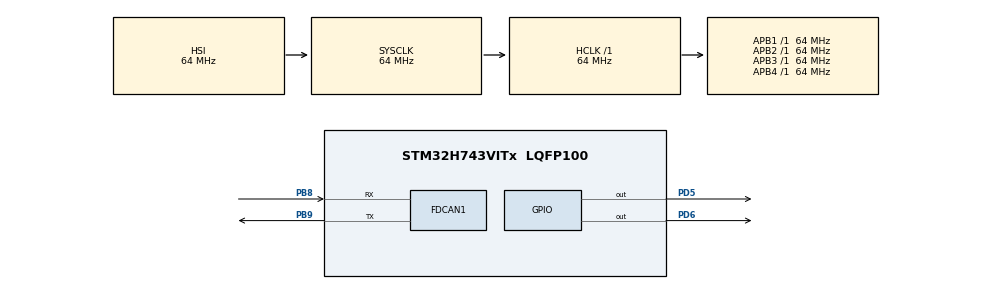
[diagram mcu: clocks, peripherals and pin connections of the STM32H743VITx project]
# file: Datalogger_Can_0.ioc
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FDCAN1.AutoRetransmission=ENABLE
FDCAN1.CalculateBaudRateNominal=500000
FDCAN1.CalculateTimeBitNominal=2000
FDCAN1.CalculateTimeQuantumNominal=125.0
FDCAN1.DataPrescaler=1
FDCAN1.DataSyncJumpWidth=2
FDCAN1.DataTimeSeg1=13
FDCAN1.DataTimeSeg2=2
FDCAN1.FrameFormat=FDCAN_FRAME_FD_NO_BRS
FDCAN1.Mode=FDCAN_MODE_EXTERNAL_LOOPBACK
FDCAN1.NominalPrescaler=1
FDCAN1.NominalSyncJumpWidth=2
FDCAN1.NominalTimeSeg1=13
FDCAN1.NominalTimeSeg2=2
FDCAN1.RxBuffersNbr=32
FDCAN1.RxFifo0ElmtSize=FDCAN_DATA_BYTES_8
FDCAN1.RxFifo0ElmtsNbr=32
FDCAN1.RxFifo1ElmtsNbr=32
FDCAN1.StdFiltersNbr=0
FDCAN1.TxBuffersNbr=32
FDCAN1.TxElmtSize=FDCAN_DATA_BYTES_8
FDCAN1.TxEventsNbr=32
FDCAN1.TxFifoQueueElmtsNbr=32
Mcu.Family=STM32H7
Mcu.Name=STM32H743VITx
Mcu.Package=LQFP100
NVIC.FDCAN1_IT0_IRQn=true\:0\:0\:false\:false\:true\:true\:true\:true
NVIC.PriorityGroup=NVIC_PRIORITYGROUP_4
PA13\ (JTMS/SWDIO).Signal=DEBUG_JTMS-SWDIO
PA14\ (JTCK/SWCLK).Signal=DEBUG_JTCK-SWCLK
PB8.Mode=FDCAN_Activate
PB8.Signal=FDCAN1_RX
PB9.Mode=FDCAN_Activate
PB9.Signal=FDCAN1_TX
PD5.PinState=GPIO_PIN_SET
PD5.Signal=GPIO_Output
PD6.Signal=GPIO_Output
ProjectManager.HeapSize=0x200
ProjectManager.StackSize=0x400
ProjectManager.TargetToolchain=STM32CubeIDE
RCC.ADCFreq_Value=129000000
RCC.APB1Freq_Value=64000000
RCC.APB2Freq_Value=64000000
RCC.APB3Freq_Value=64000000
RCC.APB4Freq_Value=64000000
RCC.CortexFreq_Value=64000000
RCC.DIVM1=4
RCC.DIVN1=9
RCC.DIVQ1=19
RCC.HCLKFreq_Value=64000000
RCC.PLLFRACN=4096
RCC.SYSCLKFreq_VALUE=64000000
RCC.USBFreq_Value=8000000
VP_RNG_VS_RNG.Mode=RNG_Activate
board=custom

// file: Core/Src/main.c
/* USER CODE BEGIN Header */
/**
  ******************************************************************************
  * @file           : main.c
  * @brief          : Main program body
  ******************************************************************************
  * @attention
  *
  * Copyright (c) 2023 STMicroelectronics.
  * All rights reserved.
  *
  * This software is licensed under terms that can be found in the LICENSE file
  * in the root directory of this software component.
  * If no LICENSE file comes with this software, it is provided AS-IS.
  *
  ******************************************************************************
  */
/* USER CODE END Header */
#include "main.h"

/* USER CODE BEGIN Includes */
#include "func_CAN.h"
#include "stm32h7xx_hal_rng.h"
/* USER CODE END Includes */

FDCAN_HandleTypeDef hfdcan1;

RNG_HandleTypeDef hrng;

void SystemClock_Config(void);
static void MX_GPIO_Init(void);
static void MX_FDCAN1_Init(void);
static void MX_RNG_Init(void);

/* USER CODE BEGIN 0 */

RNG_HandleTypeDef rngHandle;

FDCAN_RxHeaderTypeDef   RxHeader;
uint8_t               RxData[8];

uint32_t randomNumber;

int64_t sent;

uint8_t number_of_bytes_received;

uint16_t receive[4];

// Ignorar, será uma das funções de leitura no futuro
void HAL_FDCAN_RxFifo0Callback(FDCAN_HandleTypeDef *hfdcan, uint32_t RxFifo0ITs)
{
  if((RxFifo0ITs & FDCAN_IT_RX_FIFO0_NEW_MESSAGE) != RESET)
  {
    /* Retreive Rx messages from RX FIFO0 */
    if (HAL_FDCAN_GetRxMessage(hfdcan, FDCAN_RX_FIFO0, &RxHeader, RxData) != HAL_OK)
    {
    /* Reception Error */
    Error_Handler();
    }
    else
    {

    }
    if (HAL_FDCAN_ActivateNotification(hfdcan, FDCAN_IT_RX_FIFO0_NEW_MESSAGE, 0) != HAL_OK)
    {
      /* Notification Error */
      Error_Handler();
    }

    number_of_bytes_received = ST_notation_to_number_of_bytes(RxHeader.DataLength);

    uint64_to_array_of_uint16(receive, number_of_bytes_received/2, array_of_uint8_to_uint64(RxData, number_of_bytes_received));
  }
}

/* USER CODE END 0 */

int main(void)
{

  /* MCU Configuration--------------------------------------------------------*/

  /* Reset of all peripherals, Initializes the Flash interface and the Systick. */
	HAL_Init();

  /* Configure the system clock */
  SystemClock_Config();

  /* Initialize all configured peripherals */
  MX_GPIO_Init();
  MX_FDCAN1_Init();
  MX_RNG_Init();
  /* USER CODE BEGIN 2 */
  if(HAL_FDCAN_Start(&hfdcan1)!= HAL_OK)
  {
	  Error_Handler();
  }
  if (HAL_FDCAN_ActivateNotification(&hfdcan1, FDCAN_IT_RX_FIFO0_NEW_MESSAGE, 0) != HAL_OK)
  {
    /* Notification Error */
    Error_Handler();
  }
  /* USER CODE END 2 */

  /* Infinite loop */
  while (1)
  {

    /* USER CODE BEGIN 3 */

	    rngHandle.Instance = RNG;
	    HAL_RNG_Init(&rngHandle);

	    // Gera um numero aleatorio que define o tamanho do pacote que será enviado
	    // O numero enviado é uma potencia de 2 mais 1 menos 1 e depois invertemos o sinal, primeiro:
	    // -((2**7)-1),
	    // -((2**15)-1)
	    // ...
	    // -((2**63)-1)

	    uint16_t lista[4];

	    uint64_t value;

	    uint16_t info1 = 1233;
	    uint16_t info2 = 2;
	    uint16_t info3 = 6634;
	    uint16_t info4 = 1000;

	    lista[0] = info1;
	    lista[1] = info2;
	    lista[2] = info3;
	    lista[3] = info4;

	    value = array_of_uint16_to_uint64(lista, 4);

	   send_message_CAN_positive(hfdcan1, 12, value);

	  // Luz usada só para saber que loop está acontecendo
	  HAL_GPIO_TogglePin(GPIOD, GPIO_PIN_6);

      HAL_Delay (250);
  }
  /* USER CODE END 3 */
}

void SystemClock_Config(void)
{
  RCC_OscInitTypeDef RCC_OscInitStruct = {0};
  RCC_ClkInitTypeDef RCC_ClkInitStruct = {0};

  /** Supply configuration update enable
  */
  HAL_PWREx_ConfigSupply(PWR_LDO_SUPPLY);

  /** Configure the main internal regulator output voltage
  */
  __HAL_PWR_VOLTAGESCALING_CONFIG(PWR_REGULATOR_VOLTAGE_SCALE3);

  while(!__HAL_PWR_GET_FLAG(PWR_FLAG_VOSRDY)) {}

  /** Initializes the RCC Oscillators according to the specified parameters
  * in the RCC_OscInitTypeDef structure.
  */
  RCC_OscInitStruct.OscillatorType = RCC_OSCILLATORTYPE_HSI48|RCC_OSCILLATORTYPE_HSI;
  RCC_OscInitStruct.HSIState = RCC_HSI_DIV1;
  RCC_OscInitStruct.HSICalibrationValue = RCC_HSICALIBRATION_DEFAULT;
  RCC_OscInitStruct.HSI48State = RCC_HSI48_ON;
  RCC_OscInitStruct.PLL.PLLState = RCC_PLL_ON;
  RCC_OscInitStruct.PLL.PLLSource = RCC_PLLSOURCE_HSI;
  RCC_OscInitStruct.PLL.PLLM = 4;
  RCC_OscInitStruct.PLL.PLLN = 9;
  RCC_OscInitStruct.PLL.PLLP = 2;
  RCC_OscInitStruct.PLL.PLLQ = 19;
  RCC_OscInitStruct.PLL.PLLR = 2;
  RCC_OscInitStruct.PLL.PLLRGE = RCC_PLL1VCIRANGE_3;
  RCC_OscInitStruct.PLL.PLLVCOSEL = RCC_PLL1VCOMEDIUM;
  RCC_OscInitStruct.PLL.PLLFRACN = 4096;
  if (HAL_RCC_OscConfig(&RCC_OscInitStruct) != HAL_OK)
  {
    Error_Handler();
  }

  /** Initializes the CPU, AHB and APB buses clocks
  */
  RCC_ClkInitStruct.ClockType = RCC_CLOCKTYPE_HCLK|RCC_CLOCKTYPE_SYSCLK
                              |RCC_CLOCKTYPE_PCLK1|RCC_CLOCKTYPE_PCLK2
                              |RCC_CLOCKTYPE_D3PCLK1|RCC_CLOCKTYPE_D1PCLK1;
  RCC_ClkInitStruct.SYSCLKSource = RCC_SYSCLKSOURCE_HSI;
  RCC_ClkInitStruct.SYSCLKDivider = RCC_SYSCLK_DIV1;
  RCC_ClkInitStruct.AHBCLKDivider = RCC_HCLK_DIV1;
  RCC_ClkInitStruct.APB3CLKDivider = RCC_APB3_DIV1;
  RCC_ClkInitStruct.APB1CLKDivider = RCC_APB1_DIV1;
  RCC_ClkInitStruct.APB2CLKDivider = RCC_APB2_DIV1;
  RCC_ClkInitStruct.APB4CLKDivider = RCC_APB4_DIV1;

  if (HAL_RCC_ClockConfig(&RCC_ClkInitStruct, FLASH_LATENCY_1) != HAL_OK)
  {
    Error_Handler();
  }
}

static void MX_FDCAN1_Init(void)
{

  hfdcan1.Instance = FDCAN1;
  hfdcan1.Init.FrameFormat = FDCAN_FRAME_FD_NO_BRS;
  hfdcan1.Init.Mode = FDCAN_MODE_EXTERNAL_LOOPBACK;
  hfdcan1.Init.AutoRetransmission = ENABLE;
  hfdcan1.Init.TransmitPause = DISABLE;
  hfdcan1.Init.ProtocolException = DISABLE;
  hfdcan1.Init.NominalPrescaler = 1;
  hfdcan1.Init.NominalSyncJumpWidth = 2;
  hfdcan1.Init.NominalTimeSeg1 = 13;
  hfdcan1.Init.NominalTimeSeg2 = 2;
  hfdcan1.Init.DataPrescaler = 1;
  hfdcan1.Init.DataSyncJumpWidth = 2;
  hfdcan1.Init.DataTimeSeg1 = 13;
  hfdcan1.Init.DataTimeSeg2 = 2;
  hfdcan1.Init.MessageRAMOffset = 0;
  hfdcan1.Init.StdFiltersNbr = 0;
  hfdcan1.Init.ExtFiltersNbr = 0;
  hfdcan1.Init.RxFifo0ElmtsNbr = 32;
  hfdcan1.Init.RxFifo0ElmtSize = FDCAN_DATA_BYTES_8;
  hfdcan1.Init.RxFifo1ElmtsNbr = 32;
  hfdcan1.Init.RxFifo1ElmtSize = FDCAN_DATA_BYTES_8;
  hfdcan1.Init.RxBuffersNbr = 32;
  hfdcan1.Init.RxBufferSize = FDCAN_DATA_BYTES_8;
  hfdcan1.Init.TxEventsNbr = 32;
  hfdcan1.Init.TxBuffersNbr = 32;
  hfdcan1.Init.TxFifoQueueElmtsNbr = 32;
  hfdcan1.Init.TxFifoQueueMode = FDCAN_TX_FIFO_OPERATION;
  hfdcan1.Init.TxElmtSize = FDCAN_DATA_BYTES_8;
  if (HAL_FDCAN_Init(&hfdcan1) != HAL_OK)
  {
    Error_Handler();
  }
  /* USER CODE BEGIN FDCAN1_Init 2 */

   /*
   FDCAN_FilterTypeDef sFilterConfig;

   sFilterConfig.IdType = FDCAN_STANDARD_ID;
   sFilterConfig.FilterIndex = 0;
   sFilterConfig.FilterType = FDCAN_FILTER_RANGE;
   sFilterConfig.FilterConfig = FDCAN_FILTER_TO_RXFIFO0;
   sFilterConfig.FilterID1 = 0x0;
   sFilterConfig.FilterID2 = 0x11;
   sFilterConfig.RxBufferIndex = 0;
   */
   //if (HAL_FDCAN_ConfigFilter(&hfdcan1, &sFilterConfig) != HAL_OK)
   //{
     /* Filter configuration Error */
     //Error_Handler();
  // }

  /* USER CODE END FDCAN1_Init 2 */

}

static void MX_RNG_Init(void)
{

  hrng.Instance = RNG;
  hrng.Init.ClockErrorDetection = RNG_CED_ENABLE;
  if (HAL_RNG_Init(&hrng) != HAL_OK)
  {
    Error_Handler();
  }

}

static void MX_GPIO_Init(void)
{
  GPIO_InitTypeDef GPIO_InitStruct = {0};

  /* GPIO Ports Clock Enable */
  __HAL_RCC_GPIOA_CLK_ENABLE();
  __HAL_RCC_GPIOD_CLK_ENABLE();
  __HAL_RCC_GPIOB_CLK_ENABLE();

  /*Configure GPIO pin Output Level */
  HAL_GPIO_WritePin(GPIOD, GPIO_PIN_5, GPIO_PIN_SET);

  /*Configure GPIO pin Output Level */
  HAL_GPIO_WritePin(GPIOD, GPIO_PIN_6, GPIO_PIN_RESET);

  /*Configure GPIO pins : PD5 PD6 */
  GPIO_InitStruct.Pin = GPIO_PIN_5|GPIO_PIN_6;
  GPIO_InitStruct.Mode = GPIO_MODE_OUTPUT_PP;
  GPIO_InitStruct.Pull = GPIO_NOPULL;
  GPIO_InitStruct.Speed = GPIO_SPEED_FREQ_LOW;
  HAL_GPIO_Init(GPIOD, &GPIO_InitStruct);

}

void Error_Handler(void)
{
  __disable_irq();
  while (1)
  {
  }
}
